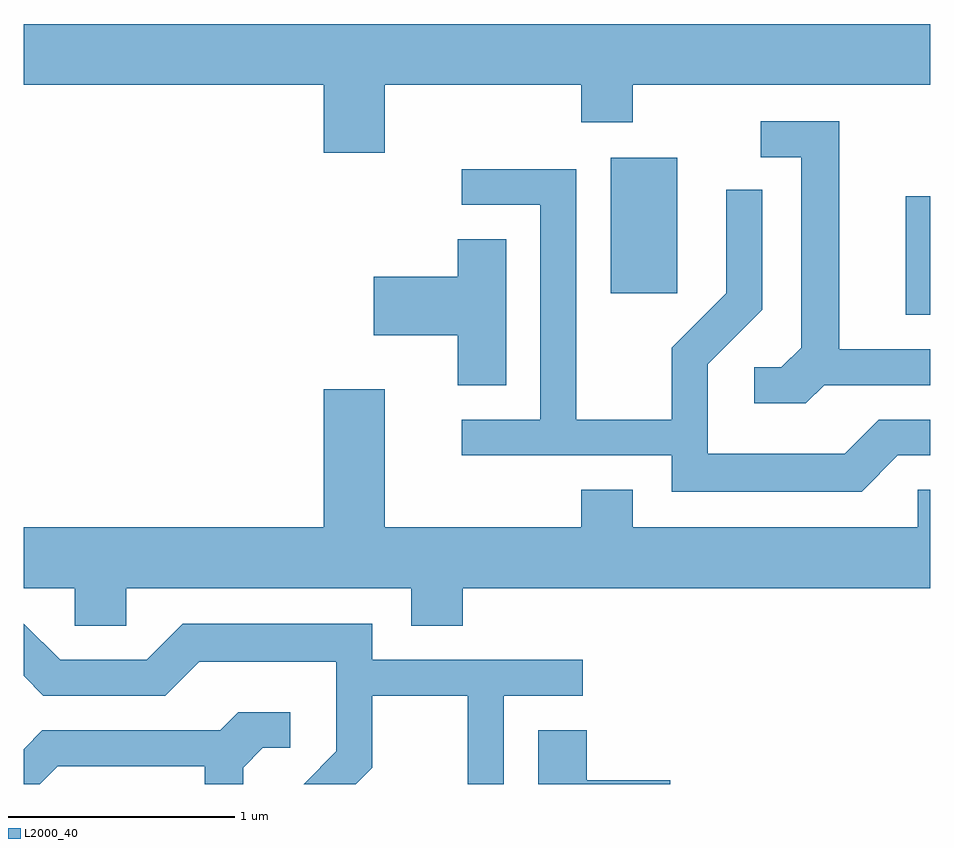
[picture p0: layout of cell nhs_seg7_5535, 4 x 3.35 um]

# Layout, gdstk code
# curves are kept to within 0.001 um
import gdstk
lib = gdstk.Library(unit=1e-6, precision=1e-09)
def R(c, l, rs):  # rectangles x0, y0, x1, y1
    for r in rs: c.add(gdstk.rectangle(r[:2], r[2:], *l))
def P(c, l, *ps):  # polygons
    for p in ps: c.add(gdstk.Polygon(p, *l))
L2000_40 = (2000, 40)

nhs_seg7_5535 = lib.new_cell('nhs_seg7_5535')
R(nhs_seg7_5535, L2000_40, [(357.501,1804.321,357.611,1804.844), (356.201,1804.416,356.494,1805.014)])
P(nhs_seg7_5535, L2000_40, [(355.204,1805.336),(356.071,1805.336),(356.071,1805.171),(356.299,1805.171),(356.299,1805.336),(357.611,1805.336),(357.611,1805.604),(353.611,1805.604),(353.611,1805.336),(354.936,1805.336),(354.936,1805.036),(355.204,1805.036)],
  [(357.142,1804.011),(357.611,1804.011),(357.611,1804.169),(357.209,1804.169),(357.209,1805.174),(356.863,1805.174),(356.863,1805.016),(357.041,1805.016),(357.041,1804.177),(356.954,1804.089),(356.833,1804.089),(356.833,1803.931),(357.062,1803.931)],
  [(357.467,1803.701),(357.611,1803.701),(357.611,1803.859),(357.384,1803.859),(357.234,1803.709),(356.629,1803.709),(356.629,1804.104),(356.869,1804.344),(356.869,1804.873),(356.711,1804.873),(356.711,1804.417),(356.471,1804.177),(356.471,1803.859),(356.049,1803.859),(356.049,1804.964),(355.543,1804.964),(355.543,1804.806),(355.891,1804.806),(355.891,1803.859),(355.543,1803.859),(355.543,1803.701),(356.471,1803.701),(356.471,1803.541),(357.307,1803.541)],
  [(355.739,1804.654),(355.526,1804.654),(355.526,1804.489),(355.156,1804.489),(355.156,1804.231),(355.526,1804.231),(355.526,1804.011),(355.739,1804.011)],
  [(354.064,1803.116),(355.321,1803.116),(355.321,1802.951),(355.549,1802.951),(355.549,1803.116),(357.611,1803.116),(357.611,1803.549),(357.556,1803.549),(357.556,1803.384),(356.299,1803.384),(356.299,1803.549),(356.071,1803.549),(356.071,1803.384),(355.204,1803.384),(355.204,1803.994),(354.936,1803.994),(354.936,1803.384),(353.611,1803.384),(353.611,1803.116),(353.836,1803.116),(353.836,1802.951),(354.064,1802.951)],
  [(355.149,1802.324),(355.149,1802.641),(355.571,1802.641),(355.571,1802.252),(355.729,1802.252),(355.729,1802.641),(356.078,1802.641),(356.078,1802.799),(355.149,1802.799),(355.149,1802.959),(354.314,1802.959),(354.154,1802.799),(353.772,1802.799),(353.611,1802.959),(353.611,1802.729),(353.699,1802.641),(354.237,1802.641),(354.387,1802.791),(354.991,1802.791),(354.991,1802.397),(354.846,1802.252),(355.077,1802.252)],
  [(353.762,1802.331),(354.411,1802.331),(354.411,1802.252),(354.579,1802.252),(354.579,1802.324),(354.667,1802.411),(354.788,1802.411),(354.788,1802.569),(354.559,1802.569),(354.479,1802.489),(353.694,1802.489),(353.611,1802.406),(353.611,1802.252),(353.682,1802.252)],
  [(356.464,1802.269),(356.094,1802.269),(356.094,1802.489),(355.881,1802.489),(355.881,1802.252),(356.464,1802.252)])

lib.write_gds('nhs_seg7_5535.gds')
